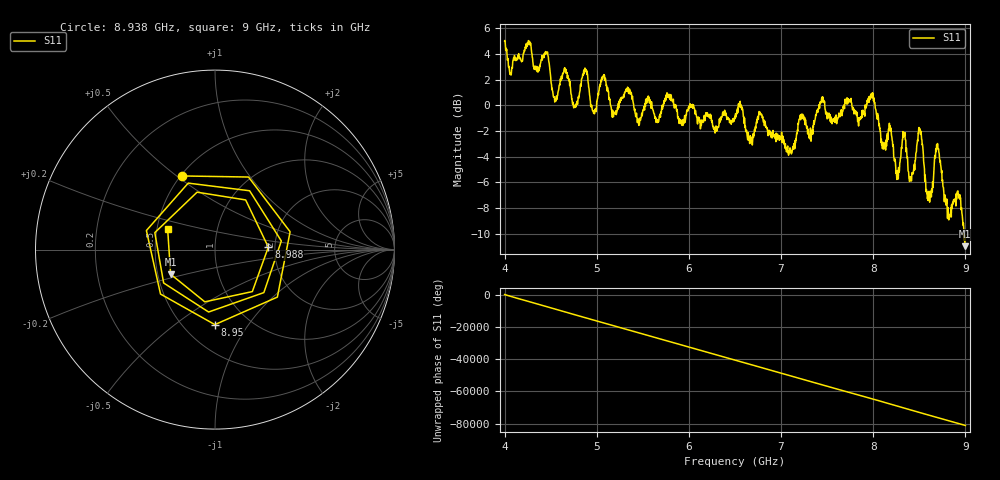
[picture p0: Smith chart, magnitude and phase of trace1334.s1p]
! Created with skrf 1.8.0 (http://scikit-rf.org).
# Hz S RI R 50.0
!freq ReS11 ImS11
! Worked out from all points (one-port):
!   1601 points, 4 GHz to 9 GHz, reference 50 ohm
!   lowest |S11| = -11.0 dB at 8.997 GHz (marker M1), VSWR 1.79, Z = 29.2 - j8.7 ohm
!   |S11| at or under -10 dB: 8.985247 GHz to end of sweep
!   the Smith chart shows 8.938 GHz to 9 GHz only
!   S11 on the Smith chart (normalised r, x): 8.938 GHz: 0.51, +0.52; 8.95 GHz: 0.70, -0.71; 8.988 GHz: 1.84, +0.06; 9 GHz: 0.57, +0.14
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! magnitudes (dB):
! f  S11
! 4 GHz  5.0
! 4.062 GHz  2.5
! 4.45 GHz  4.1
! 4.55 GHz  0.5
! 4.625 GHz  2.1
! 4.759 GHz  -0.1
! 4.872 GHz  2.9
! 4.959 GHz  -0.4
! 5.069 GHz  2.3
! 5.25 GHz  0.4
! 5.875 GHz  -0.6
! 6.5 GHz  -0.8
! 7.125 GHz  -3.4
! 7.219 GHz  -0.7
! 7.75 GHz  0.4
! 7.991 GHz  0.6
! 8.109 GHz  -3.2
! 8.375 GHz  -4.6
! 8.416 GHz  -5.9
! 8.506 GHz  -1.9
! 8.597 GHz  -6.8
! 8.691 GHz  -3.3
! 8.812 GHz  -8.0
! 8.938 GHz  -7.0
! 8.95 GHz  -7.6
! 8.988 GHz  -10.5
! 8.997 GHz  -11.0
! 9 GHz  -10.8
